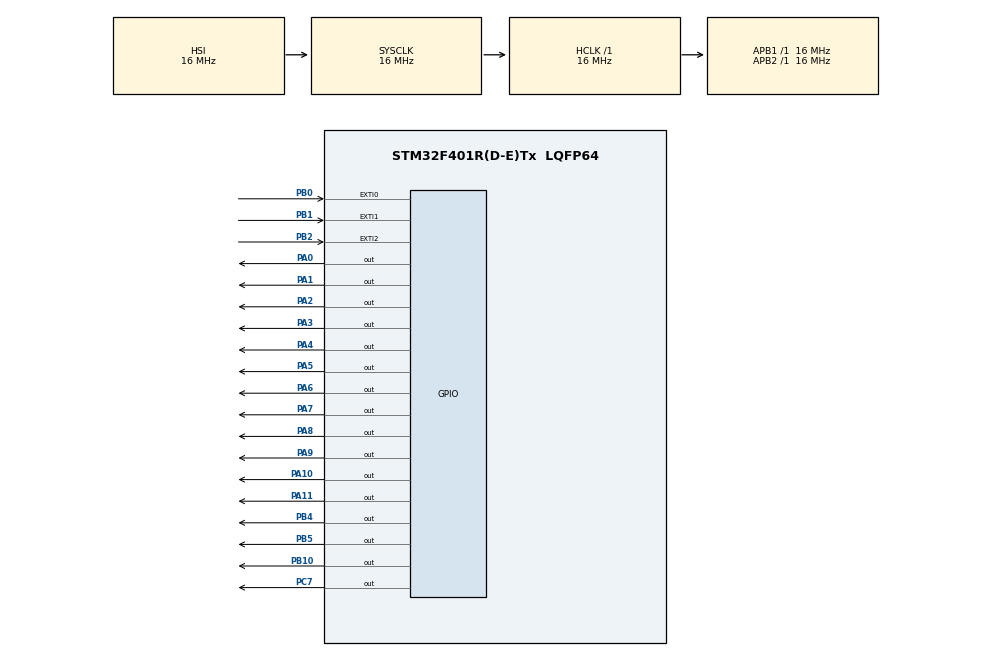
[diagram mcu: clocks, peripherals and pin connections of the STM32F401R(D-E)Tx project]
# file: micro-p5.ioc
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Mcu.Family=STM32F4
Mcu.Name=STM32F401R(D-E)Tx
Mcu.Package=LQFP64
NVIC.EXTI0_IRQn=true\:0\:0\:false\:false\:true\:true\:true
NVIC.EXTI1_IRQn=true\:0\:0\:false\:false\:true\:true\:true
NVIC.EXTI2_IRQn=true\:0\:0\:false\:false\:true\:true\:true
NVIC.PriorityGroup=NVIC_PRIORITYGROUP_4
NVIC.TIM2_IRQn=true\:0\:0\:false\:false\:true\:true\:true
NVIC.TIM3_IRQn=true\:0\:0\:false\:false\:true\:true\:true
NVIC.TIM4_IRQn=true\:0\:0\:false\:false\:true\:true\:true
PA0-WKUP.Signal=GPIO_Output
PA1.Signal=GPIO_Output
PA10.Signal=GPIO_Output
PA11.Signal=GPIO_Output
PA2.Signal=GPIO_Output
PA3.Signal=GPIO_Output
PA4.Signal=GPIO_Output
PA5.Signal=GPIO_Output
PA6.Signal=GPIO_Output
PA7.Signal=GPIO_Output
PA8.Signal=GPIO_Output
PA9.Signal=GPIO_Output
PB0.GPIO_ModeDefaultEXTI=GPIO_MODE_IT_FALLING
PB0.GPIO_PuPd=GPIO_PULLDOWN
PB0.Signal=GPXTI0
PB1.GPIO_ModeDefaultEXTI=GPIO_MODE_IT_FALLING
PB1.GPIO_PuPd=GPIO_PULLDOWN
PB1.Signal=GPXTI1
PB10.Signal=GPIO_Output
PB2.GPIO_ModeDefaultEXTI=GPIO_MODE_IT_RISING_FALLING
PB2.GPIO_PuPd=GPIO_PULLDOWN
PB2.Signal=GPXTI2
PB4.Signal=GPIO_Output
PB5.Signal=GPIO_Output
PC7.Signal=GPIO_Output
ProjectManager.HeapSize=0x200
ProjectManager.StackSize=0x400
ProjectManager.TargetToolchain=MDK-ARM V5
RCC.AHBFreq_Value=16000000
RCC.APB1Freq_Value=16000000
RCC.APB2Freq_Value=16000000
RCC.CortexFreq_Value=16000000
RCC.HSE_VALUE=25000000
RCC.HSI_VALUE=16000000
RCC.LSE_VALUE=32768
RCC.SYSCLKFreq_VALUE=16000000
RCC.VCOOutputFreq_Value=192000000
TIM2.AutoReloadPreload=TIM_AUTORELOAD_PRELOAD_DISABLE
TIM2.Period=999
TIM2.Prescaler=15
TIM3.Period=124
TIM3.Prescaler=15999
TIM4.Period=999
TIM4.Prescaler=15999
VP_TIM2_VS_ClockSourceINT.Mode=Internal
VP_TIM3_VS_ClockSourceINT.Mode=Internal
VP_TIM4_VS_ClockSourceINT.Mode=Internal
board=custom

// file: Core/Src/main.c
/* USER CODE BEGIN Header */
/**
  ******************************************************************************
  * @file           : main.c
  * @brief          : Main program body
  ******************************************************************************
  * @attention
  *
  * Copyright (c) 2022 STMicroelectronics.
  * All rights reserved.
  *
  * This software is licensed under terms that can be found in the LICENSE file
  * in the root directory of this software component.
  * If no LICENSE file comes with this software, it is provided AS-IS.
  *
  ******************************************************************************
  */
/* USER CODE END Header */
#include "main.h"

/* USER CODE BEGIN Includes */
#include <stdbool.h>
// GPIOB -> For interrupt lines
#define B1 (0)
#define B2 (1)
#define B3 (2)
#define MASK(x)   (1UL << (x))

#define D7 GPIO_PIN_8
#define D7_GPIO GPIOA

#define D6 GPIO_PIN_10
#define D6_GPIO GPIOB

#define D5 GPIO_PIN_4
#define D5_GPIO GPIOB

#define D4 GPIO_PIN_5
#define D4_GPIO GPIOB

#define EN GPIO_PIN_7
#define EN_GPIO GPIOC

#define RS GPIO_PIN_9
#define RS_GPIO GPIOA

void delayMs(int n);
void LCD_nibble_write(char data, unsigned char control);
void LCD_command(unsigned char command);
void LCD_data(char data);
void LCD_init(void);

volatile uint16_t msec = 0;
volatile uint16_t sec = 0;
volatile uint16_t min = 0;

// Timer States
enum State { STOPPED, COUNTING, STARTUP, OFF };
// Initial State
enum State systemState = STARTUP;

// Make Delay
void delay(uint16_t ms);
//Printing String or char
void printInLine(char* string);
void print(char ch);
// turn on lcd and set proper mod
void init_lcd();
// clear second line
void clear_line_2();
// Prints Digits of a signed number
void printDigit(int N);
//Committing commands or chars
void commitCommand(unsigned char command);
void commitChar(char data);
// Converting intToChar and CharToInt
int32_t charToInt(char ch);
char intToChar(int32_t digit);
// print current time on lcd :
void printTime(uint16_t min, uint16_t sec, uint16_t msec);
void clear_lcd();
void clear_line_1();
// Checks long-push(B3)
bool long_push();
bool B3_clicked();

/* USER CODE END Includes */

/* USER CODE BEGIN PTD */
void HAL_GPIO_EXTI_Callback(uint16_t GPIO_Pin){
	// On System Startup we shouldnt accept any commands
	if ( systemState == STARTUP )
		return;

	// Count if the system is not off
	if(GPIO_Pin == GPIO_PIN_0 ){
		//if( systemState != OFF )
			systemState = COUNTING;
	}
	// Stop Timer
	if(GPIO_Pin == GPIO_PIN_1 ){
		if(systemState == OFF)
			return;
		systemState = STOPPED;
	}
	// LongPush -> Turn off the system, else -> Reset Timer !
	if(GPIO_Pin == GPIO_PIN_2 ){

			HAL_NVIC_SetPendingIRQ(EXTI2_IRQn);

			min = sec = msec = 0;
			if ( long_push() ) {
				systemState = OFF;
				clear_line_2();
				while(B3_clicked()){}
			}
			else {
				if(systemState == OFF)
					return;
				systemState = STOPPED;
				printTime(0, 0, 0);
			}
			while( B3_clicked() );
			HAL_NVIC_ClearPendingIRQ(EXTI2_IRQn);
	}
}

// TIM2 -> For counting MiliSeconds, TIM3 -> For counting halfSeconds (in order to print and clear 'TURN OFF' )
void HAL_TIM_PeriodElapsedCallback(TIM_HandleTypeDef *htim){

	if (htim->Instance == TIM2){
		// Counter Timer :
		if( systemState == COUNTING ){
				msec+=8;
			if(msec == 1000){
				sec++;
				msec = 0;
			}
			if(sec == 60){
				min++;
				sec = 0;
			}
			printTime( min, sec, msec);
		}
	}
	// Timer for OFF state :
	else if (htim->Instance == TIM3){
		static bool turnOffPrinted = false;
		if(systemState == OFF ){
			if(turnOffPrinted){
				clear_line_2();
			}
			else {
				printInLine("TURN OFF");
			}
			turnOffPrinted = !turnOffPrinted;
		}
	}
}

/* USER CODE END PTD */

TIM_HandleTypeDef htim2;
TIM_HandleTypeDef htim3;
TIM_HandleTypeDef htim4;

void SystemClock_Config(void);
static void MX_GPIO_Init(void);
static void MX_TIM2_Init(void);
static void MX_TIM3_Init(void);
static void MX_TIM4_Init(void);
/* USER CODE BEGIN PFP */

// Make Delay
void delay(uint16_t ms);
//Printing String or char
void printInLine(char* string);
void print(char ch);
// turn on lcd and set proper mod
void init_lcd();
// clear second line
void clear_line_2();
// Prints Digits of a signed number
void printDigit(int N);
//Committing commands or chars
void commitCommand(unsigned char command);
void commitChar(char data);
// Converting intToChar and CharToInt
int32_t charToInt(char ch);
char intToChar(int32_t digit);
// print current time on lcd :
void printTime(uint16_t min, uint16_t sec, uint16_t msec);
void clear_lcd();
void clear_line_1();
// Checks long-push(B3)
bool long_push();
bool B3_clicked();

/* USER CODE END PFP */

/* USER CODE BEGIN 0 */

void LCD_init(void)
{
    delayMs(20); /* LCD controller reset sequence */
    LCD_nibble_write(0x30, 0);
    delayMs(5);
    LCD_nibble_write(0x30, 0);
    delayMs(1);
    LCD_nibble_write(0x30, 0);
    delayMs(1);

    LCD_nibble_write(0x20, 0); /* use 4-bit data mode */
    delayMs(1);
    LCD_command(0x28); /* set 4-bit data, 2-line, 5x7 font */
    LCD_command(0x06); /* move cursor right */
    LCD_command(0x01); /* clear screen, move cursor to home */
    LCD_command(0x0F); /* turn on display, cursor blinking */
}

void LCD_nibble_write(char data, unsigned char control)
{
    /* set R/S bit */

    if (control == 0)
        HAL_GPIO_WritePin(RS_GPIO, RS, GPIO_PIN_RESET);
    else
        HAL_GPIO_WritePin(RS_GPIO, RS, GPIO_PIN_SET);

    HAL_GPIO_WritePin(D4_GPIO, D4, data % 2);
    data /= 2;
    HAL_GPIO_WritePin(D5_GPIO, D5, data % 2);
    data /= 2;
    HAL_GPIO_WritePin(D6_GPIO, D6, data % 2);
    data /= 2;
    HAL_GPIO_WritePin(D7_GPIO, D7, data % 2);

    /* pulse E */
    HAL_GPIO_WritePin(EN_GPIO, EN, GPIO_PIN_SET);
    delayMs(0);
    HAL_GPIO_WritePin(EN_GPIO, EN, GPIO_PIN_RESET);
}

void LCD_command(unsigned char command)
{
    LCD_nibble_write(((command & 0xF0) >> 4), 0); /* upper nibble first */
    LCD_nibble_write(command & 0x0F, 0);          /* then lower nibble */

    if (command < 4)
        delayMs(5); /* command 1 and 2 needs up to 1.64ms */
    else
        delayMs(2); /* all others 40 us */
}

void LCD_data(char data)
{
    LCD_nibble_write(((data & 0xF0) >> 4), 1); /* upper nibble first */
    LCD_nibble_write(data & 0x0F, 1);          /* then lower nibble */

    delayMs(2);
}

/* delay n milliseconds (16 MHz CPU clock) */
void delayMs(int n)
{
    int i;
    for (; n > 0; n--)
        for (i = 0; i < 3195; i++)
            __NOP();
}

// Check whether pushing was long.
bool long_push(){
	  SysTick -> LOAD = 16000;
	SysTick -> VAL = 0;
	SysTick -> CTRL = 0x5;
	bool long_push = true;

	for(int i = 0; i < 3000; i++){
		SysTick -> CTRL = 0x5;
		while((SysTick -> CTRL & 0x10000) == 0){
			if(B3_clicked() == 0){
				long_push = false;
				break;
			}
		}
		if(!long_push)
			break;
	}
	SysTick->CTRL = 0;
	return long_push;

}
// Check for B3-Push
bool B3_clicked(){
	return HAL_GPIO_ReadPin(GPIOB, MASK(B3) ) == GPIO_PIN_SET;
}
// Prints the given time ( in timer-format) on LCD
void printTime(uint16_t min, uint16_t sec, uint16_t msec){
	commitCommand(0xC0);

	// Minutes:
	commitChar( intToChar(min/10) );
	commitChar( intToChar(min%10) );

	commitChar(':');

	// Seconds:
	commitChar( intToChar(sec/10) );
	commitChar( intToChar(sec%10) );

	commitChar(':');

	// MiliSeconds:
	commitChar( intToChar(msec/100) );
	commitChar( intToChar((msec%100)/10 ) );
	commitChar( intToChar(msec%10) );
}

void commitCommand(unsigned char command){
	LCD_command(command);
	delayMs(20);
}
void commitChar(char data){
		LCD_data(data);
		delayMs(20);
}
void init_lcd(){

}
void printInLine(char* string){
	while(*string != '\0'){
		char ch = (char) (*string);
		commitChar(ch);
		string++;
	}
	commitCommand(0xC0);
}

void clear_line_2(){
	commitCommand(0xC0);
	printInLine("                ");
}

void clear_line_1(){
	commitCommand(0x80);
	printInLine("                ");
}
void print(char ch){
	commitChar(ch);
}

char intToChar(int32_t digit){
		switch(digit){
		case 0: return '0';
		case 1: return '1';
		case 2: return '2';
		case 3: return '3';
		case 4: return '4';
		case 5: return '5';
		case 6: return '6';
		case 7: return '7';
		case 8: return '8';
		case 9: return '9';
		default: return '0';
	}
	return '0';
}
int32_t charToInt(char ch){
	switch(ch){
		case '0': return 0;
		case '1': return 1;
		case '2': return 2;
		case '3': return 3;
		case '4': return 4;
		case '5': return 5;
		case '6': return 6;
		case '7': return 7;
		case '8': return 8;
		case '9': return 9;
		default: return 0;
	}
	return 0;
}
void delay(uint16_t n){
    for(int i = 0; i < n; i++){
			for(int j = 0; j < 200 ;j++);
		}
}
void printDigit(int N){
		if(	N == 0 ){
			commitChar(intToChar(N));
			return;
		}
		if( N < 0 ) {
			commitChar('-');
			N = -N;
		}

    char arr[30];
    int i = 0;
    int j, r;

    while (N != 0) {
        r = N % 10;
        arr[i] = r;
        i++;
        N = N / 10;
    }
    for (j = i - 1; j > -1; j--) {
        commitChar(intToChar(arr[j]));
    }
}

/* USER CODE END 0 */

int main(void)
{

  /* MCU Configuration--------------------------------------------------------*/

  /* Reset of all peripherals, Initializes the Flash interface and the Systick. */
  HAL_Init();

  /* Configure the system clock */
  SystemClock_Config();

  /* Initialize all configured peripherals */
  MX_GPIO_Init();
  MX_TIM2_Init();
  MX_TIM3_Init();
  MX_TIM4_Init();
  /* USER CODE BEGIN 2 */
	  LCD_init();
    LCD_command(0x01);

	printInLine("Welcome");
	delay(30000);
	clear_line_1();
	printTime(0, 0, 0);
	systemState = STOPPED;
	HAL_NVIC_SetPriority(SysTick_IRQn, 0, 0);

	HAL_TIM_Base_Start_IT(&htim3);
	HAL_TIM_Base_Start_IT(&htim2);
  /* USER CODE END 2 */

  /* Infinite loop */
  while (1)
  {

  }
}

void SystemClock_Config(void)
{
  RCC_OscInitTypeDef RCC_OscInitStruct = {0};
  RCC_ClkInitTypeDef RCC_ClkInitStruct = {0};

  /** Configure the main internal regulator output voltage
  */
  __HAL_RCC_PWR_CLK_ENABLE();
  __HAL_PWR_VOLTAGESCALING_CONFIG(PWR_REGULATOR_VOLTAGE_SCALE2);
  /** Initializes the RCC Oscillators according to the specified parameters
  * in the RCC_OscInitTypeDef structure.
  */
  RCC_OscInitStruct.OscillatorType = RCC_OSCILLATORTYPE_HSI;
  RCC_OscInitStruct.HSIState = RCC_HSI_ON;
  RCC_OscInitStruct.HSICalibrationValue = RCC_HSICALIBRATION_DEFAULT;
  RCC_OscInitStruct.PLL.PLLState = RCC_PLL_NONE;
  if (HAL_RCC_OscConfig(&RCC_OscInitStruct) != HAL_OK)
  {
    Error_Handler();
  }
  /** Initializes the CPU, AHB and APB buses clocks
  */
  RCC_ClkInitStruct.ClockType = RCC_CLOCKTYPE_HCLK|RCC_CLOCKTYPE_SYSCLK
                              |RCC_CLOCKTYPE_PCLK1|RCC_CLOCKTYPE_PCLK2;
  RCC_ClkInitStruct.SYSCLKSource = RCC_SYSCLKSOURCE_HSI;
  RCC_ClkInitStruct.AHBCLKDivider = RCC_SYSCLK_DIV1;
  RCC_ClkInitStruct.APB1CLKDivider = RCC_HCLK_DIV1;
  RCC_ClkInitStruct.APB2CLKDivider = RCC_HCLK_DIV1;

  if (HAL_RCC_ClockConfig(&RCC_ClkInitStruct, FLASH_LATENCY_0) != HAL_OK)
  {
    Error_Handler();
  }
}

static void MX_TIM2_Init(void)
{

  TIM_ClockConfigTypeDef sClockSourceConfig = {0};
  TIM_MasterConfigTypeDef sMasterConfig = {0};

  htim2.Instance = TIM2;
  htim2.Init.Prescaler = 15;
  htim2.Init.CounterMode = TIM_COUNTERMODE_UP;
  htim2.Init.Period = 999;
  htim2.Init.ClockDivision = TIM_CLOCKDIVISION_DIV1;
  htim2.Init.AutoReloadPreload = TIM_AUTORELOAD_PRELOAD_DISABLE;
  if (HAL_TIM_Base_Init(&htim2) != HAL_OK)
  {
    Error_Handler();
  }
  sClockSourceConfig.ClockSource = TIM_CLOCKSOURCE_INTERNAL;
  if (HAL_TIM_ConfigClockSource(&htim2, &sClockSourceConfig) != HAL_OK)
  {
    Error_Handler();
  }
  sMasterConfig.MasterOutputTrigger = TIM_TRGO_RESET;
  sMasterConfig.MasterSlaveMode = TIM_MASTERSLAVEMODE_DISABLE;
  if (HAL_TIMEx_MasterConfigSynchronization(&htim2, &sMasterConfig) != HAL_OK)
  {
    Error_Handler();
  }

}

static void MX_TIM3_Init(void)
{

  TIM_ClockConfigTypeDef sClockSourceConfig = {0};
  TIM_MasterConfigTypeDef sMasterConfig = {0};

  htim3.Instance = TIM3;
  htim3.Init.Prescaler = 15999;
  htim3.Init.CounterMode = TIM_COUNTERMODE_UP;
  htim3.Init.Period = 124;
  htim3.Init.ClockDivision = TIM_CLOCKDIVISION_DIV1;
  htim3.Init.AutoReloadPreload = TIM_AUTORELOAD_PRELOAD_DISABLE;
  if (HAL_TIM_Base_Init(&htim3) != HAL_OK)
  {
    Error_Handler();
  }
  sClockSourceConfig.ClockSource = TIM_CLOCKSOURCE_INTERNAL;
  if (HAL_TIM_ConfigClockSource(&htim3, &sClockSourceConfig) != HAL_OK)
  {
    Error_Handler();
  }
  sMasterConfig.MasterOutputTrigger = TIM_TRGO_RESET;
  sMasterConfig.MasterSlaveMode = TIM_MASTERSLAVEMODE_DISABLE;
  if (HAL_TIMEx_MasterConfigSynchronization(&htim3, &sMasterConfig) != HAL_OK)
  {
    Error_Handler();
  }

}

static void MX_TIM4_Init(void)
{

  TIM_ClockConfigTypeDef sClockSourceConfig = {0};
  TIM_MasterConfigTypeDef sMasterConfig = {0};

  htim4.Instance = TIM4;
  htim4.Init.Prescaler = 15999;
  htim4.Init.CounterMode = TIM_COUNTERMODE_UP;
  htim4.Init.Period = 999;
  htim4.Init.ClockDivision = TIM_CLOCKDIVISION_DIV1;
  htim4.Init.AutoReloadPreload = TIM_AUTORELOAD_PRELOAD_DISABLE;
  if (HAL_TIM_Base_Init(&htim4) != HAL_OK)
  {
    Error_Handler();
  }
  sClockSourceConfig.ClockSource = TIM_CLOCKSOURCE_INTERNAL;
  if (HAL_TIM_ConfigClockSource(&htim4, &sClockSourceConfig) != HAL_OK)
  {
    Error_Handler();
  }
  sMasterConfig.MasterOutputTrigger = TIM_TRGO_RESET;
  sMasterConfig.MasterSlaveMode = TIM_MASTERSLAVEMODE_DISABLE;
  if (HAL_TIMEx_MasterConfigSynchronization(&htim4, &sMasterConfig) != HAL_OK)
  {
    Error_Handler();
  }

}

static void MX_GPIO_Init(void)
{
  GPIO_InitTypeDef GPIO_InitStruct = {0};

  /* GPIO Ports Clock Enable */
  __HAL_RCC_GPIOA_CLK_ENABLE();
  __HAL_RCC_GPIOB_CLK_ENABLE();
  __HAL_RCC_GPIOC_CLK_ENABLE();

  /*Configure GPIO pin Output Level */
  HAL_GPIO_WritePin(GPIOA, GPIO_PIN_0|GPIO_PIN_1|GPIO_PIN_2|GPIO_PIN_3
                          |GPIO_PIN_4|GPIO_PIN_5|GPIO_PIN_6|GPIO_PIN_7
                          |GPIO_PIN_8|GPIO_PIN_9|GPIO_PIN_10|GPIO_PIN_11, GPIO_PIN_RESET);

  /*Configure GPIO pin Output Level */
  HAL_GPIO_WritePin(GPIOB, GPIO_PIN_10|GPIO_PIN_4|GPIO_PIN_5, GPIO_PIN_RESET);

  /*Configure GPIO pin Output Level */
  HAL_GPIO_WritePin(GPIOC, GPIO_PIN_7, GPIO_PIN_RESET);

  /*Configure GPIO pins : PA0 PA1 PA2 PA3
                           PA4 PA5 PA6 PA7
                           PA8 PA9 PA10 PA11 */
  GPIO_InitStruct.Pin = GPIO_PIN_0|GPIO_PIN_1|GPIO_PIN_2|GPIO_PIN_3
                          |GPIO_PIN_4|GPIO_PIN_5|GPIO_PIN_6|GPIO_PIN_7
                          |GPIO_PIN_8|GPIO_PIN_9|GPIO_PIN_10|GPIO_PIN_11;
  GPIO_InitStruct.Mode = GPIO_MODE_OUTPUT_PP;
  GPIO_InitStruct.Pull = GPIO_NOPULL;
  GPIO_InitStruct.Speed = GPIO_SPEED_FREQ_LOW;
  HAL_GPIO_Init(GPIOA, &GPIO_InitStruct);

  /*Configure GPIO pins : PB0 PB1 */
  GPIO_InitStruct.Pin = GPIO_PIN_0|GPIO_PIN_1;
  GPIO_InitStruct.Mode = GPIO_MODE_IT_FALLING;
  GPIO_InitStruct.Pull = GPIO_PULLDOWN;
  HAL_GPIO_Init(GPIOB, &GPIO_InitStruct);

  /*Configure GPIO pin : PB2 */
  GPIO_InitStruct.Pin = GPIO_PIN_2;
  GPIO_InitStruct.Mode = GPIO_MODE_IT_RISING_FALLING;
  GPIO_InitStruct.Pull = GPIO_PULLDOWN;
  HAL_GPIO_Init(GPIOB, &GPIO_InitStruct);

  /*Configure GPIO pins : PB10 PB4 PB5 */
  GPIO_InitStruct.Pin = GPIO_PIN_10|GPIO_PIN_4|GPIO_PIN_5;
  GPIO_InitStruct.Mode = GPIO_MODE_OUTPUT_PP;
  GPIO_InitStruct.Pull = GPIO_NOPULL;
  GPIO_InitStruct.Speed = GPIO_SPEED_FREQ_LOW;
  HAL_GPIO_Init(GPIOB, &GPIO_InitStruct);

  /*Configure GPIO pin : PC7 */
  GPIO_InitStruct.Pin = GPIO_PIN_7;
  GPIO_InitStruct.Mode = GPIO_MODE_OUTPUT_PP;
  GPIO_InitStruct.Pull = GPIO_NOPULL;
  GPIO_InitStruct.Speed = GPIO_SPEED_FREQ_LOW;
  HAL_GPIO_Init(GPIOC, &GPIO_InitStruct);

  /* EXTI interrupt init*/
  HAL_NVIC_SetPriority(EXTI0_IRQn, 0, 0);
  HAL_NVIC_EnableIRQ(EXTI0_IRQn);

  HAL_NVIC_SetPriority(EXTI1_IRQn, 0, 0);
  HAL_NVIC_EnableIRQ(EXTI1_IRQn);

  HAL_NVIC_SetPriority(EXTI2_IRQn, 0, 0);
  HAL_NVIC_EnableIRQ(EXTI2_IRQn);

}

void Error_Handler(void)
{
  __disable_irq();
  while (1)
  {
  }
}
